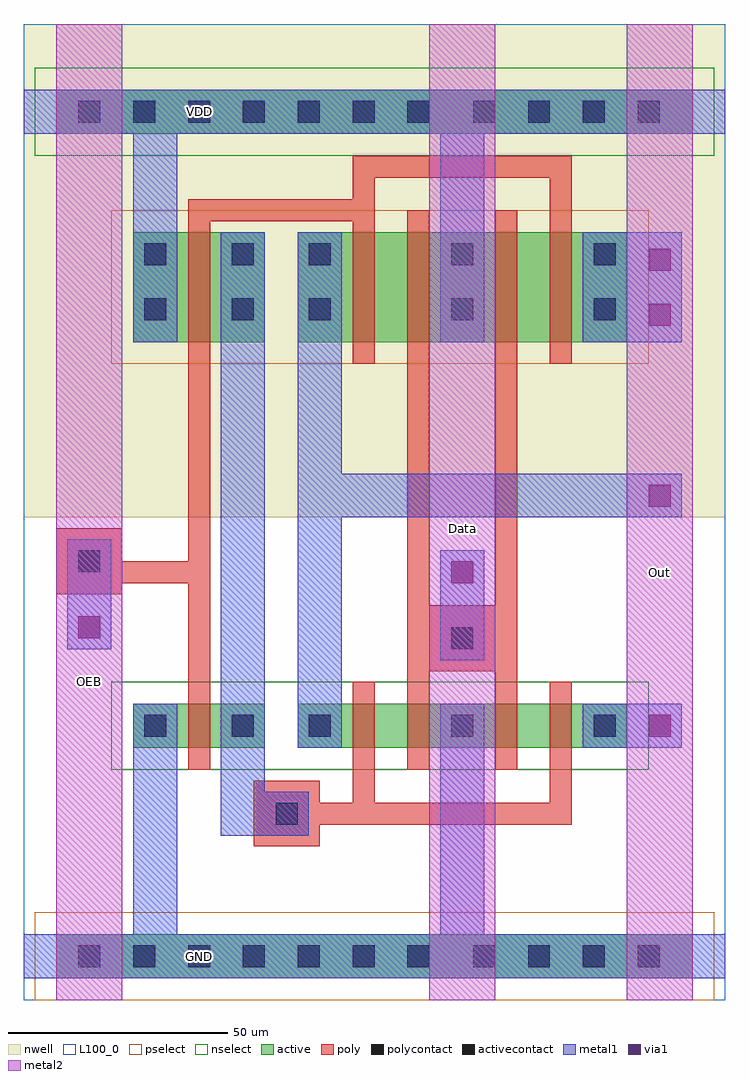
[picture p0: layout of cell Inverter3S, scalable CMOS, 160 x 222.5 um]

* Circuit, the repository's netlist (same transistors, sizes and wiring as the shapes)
* Extracted by KLayout (CIDESI_CM05, LNunT, CIDESI)

.SUBCKT Inverter3S OEB Out Data VDD GND
M$1 \$14 OEB Out VDD CIDPMOS L=5U W=25U AS=312.5P AD=93.75P PS=75U PD=32.5U
M$2 VDD Data \$14 VDD CIDPMOS L=5U W=25U AS=93.75P AD=187.5P PS=32.5U PD=40U
M$3 \$15 Data VDD VDD CIDPMOS L=5U W=25U AS=187.5P AD=93.75P PS=40U PD=32.5U
M$4 Out OEB \$15 VDD CIDPMOS L=5U W=25U AS=93.75P AD=312.5P PS=32.5U PD=75U
M$5 \$3 OEB VDD VDD CIDPMOS L=5U W=25U AS=312.5P AD=312.5P PS=75U PD=75U
M$6 \$8 \$3 Out GND CIDNMOS L=5U W=10U AS=125P AD=37.5P PS=45U PD=17.5U
M$7 GND Data \$8 GND CIDNMOS L=5U W=10U AS=37.5P AD=75P PS=17.5U PD=25U
M$8 \$10 Data GND GND CIDNMOS L=5U W=10U AS=75P AD=37.5P PS=25U PD=17.5U
M$9 Out \$3 \$10 GND CIDNMOS L=5U W=10U AS=37.5P AD=125P PS=17.5U PD=45U
M$10 \$3 OEB GND GND CIDNMOS L=5U W=10U AS=125P AD=125P PS=45U PD=45U
.ENDS Inverter3S

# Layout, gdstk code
import gdstk
lib = gdstk.Library(unit=1e-6, precision=1e-09)
def R(c, l, rs):  # rectangles x0, y0, x1, y1
    for r in rs: c.add(gdstk.rectangle(r[:2], r[2:], *l))
def A(c, l, x, y, w, h, nx, ny, dx, dy):  # array of equal rectangles
    R(c, l, [(x+i*dx, y+j*dy, x+i*dx+w, y+j*dy+h) for i in range(nx) for j in range(ny)])
nwell = (42, 0)
active = (43, 0)
pselect = (44, 0)
nselect = (45, 0)
poly = (46, 0)
polycontact = (47, 0)
activecontact = (48, 0)
metal1 = (49, 0)
via1 = (50, 0)
metal2 = (51, 0)
L100_0 = (100, 0)

inverter3s = lib.new_cell('Inverter3S')
R(inverter3s, nwell, [(0,110,160,222.5)])
R(inverter3s, active, [(7.5,5,152.5,15), (25,57.5,55,67.5), (62.5,57.5,137.5,67.5), (25,150,55,175), (62.5,150,137.5,175), (7.5,197.5,152.5,207.5)])
R(inverter3s, pselect, [(2.5,0,157.5,20), (20,145,142.5,180)])
R(inverter3s, nselect, [(20,52.5,142.5,72.5), (2.5,192.5,157.5,212.5)])
R(inverter3s, poly, [(52.5,35,67.5,40), (52.5,40,125,45), (52.5,45,67.5,50), (75,45,80,72.5), (120,45,125,72.5), (37.5,52.5,42.5,95), (87.5,52.5,92.5,75), (107.5,52.5,112.5,75), (87.5,75,112.5,90), (87.5,90,92.5,180), (107.5,90,112.5,180), (7.5,92.5,22.5,95), (7.5,95,42.5,100), (7.5,100,22.5,107.5), (37.5,100,42.5,177.5), (75,145,80,177.5), (120,145,125,187.5), (37.5,177.5,80,182.5), (75,182.5,80,187.5), (75,187.5,125,192.5)])
R(inverter3s, polycontact, [(57.5,40,62.5,45), (97.5,80,102.5,85), (12.5,97.5,17.5,102.5)])
A(inverter3s, activecontact, 12.5, 7.5, 5, 5, 7, 2, 12.5, 192.5)
A(inverter3s, activecontact, 102.5, 7.5, 5, 5, 4, 2, 12.5, 192.5)
A(inverter3s, activecontact, 65, 60, 5, 5, 3, 2, 32.5, 95)
A(inverter3s, activecontact, 65, 167.5, 5, 5, 3, 1, 32.5, 0)
R(inverter3s, activecontact, [(27.5,60,32.5,65), (47.5,60,52.5,65), (27.5,155,32.5,160), (47.5,155,52.5,160), (27.5,167.5,32.5,172.5), (47.5,167.5,52.5,172.5)])
R(inverter3s, metal1, [(0,5,160,15), (7.5,5,152.5,15), (25,15,35,67.5), (95,15,105,67.5), (45,37.5,65,47.5), (45,47.5,55,175), (62.5,57.5,72.5,110), (127.5,57.5,150,67.5), (95,77.5,105,102.5), (10,80,20,105), (62.5,110,150,120), (62.5,120,72.5,175), (25,150,35,197.5), (95,150,105,197.5), (127.5,150,150,175), (0,197.5,160,207.5), (7.5,197.5,152.5,207.5)])
R(inverter3s, via1, [(142.5,60,147.5,65), (12.5,82.5,17.5,87.5), (97.5,95,102.5,100), (142.5,112.5,147.5,117.5), (142.5,153.75,147.5,158.75), (142.5,166.25,147.5,171.25)])
R(inverter3s, metal2, [(7.5,0,22.5,222.5), (92.5,0,107.5,222.5), (137.5,0,152.5,222.5)])
R(inverter3s, L100_0, [(0,0,160,222.5)])
inverter3s.add(gdstk.Label('VDD', (40,202.5), layer=49, texttype=1))
inverter3s.add(gdstk.Label('GND', (40,10), layer=49, texttype=1))
inverter3s.add(gdstk.Label('OEB', (15,72.5), layer=51, texttype=1))
inverter3s.add(gdstk.Label('Data', (100,107.5), layer=51, texttype=1))
inverter3s.add(gdstk.Label('Out', (145,97.5), layer=51, texttype=1))

lib.write_gds('Inverter3S.gds')
